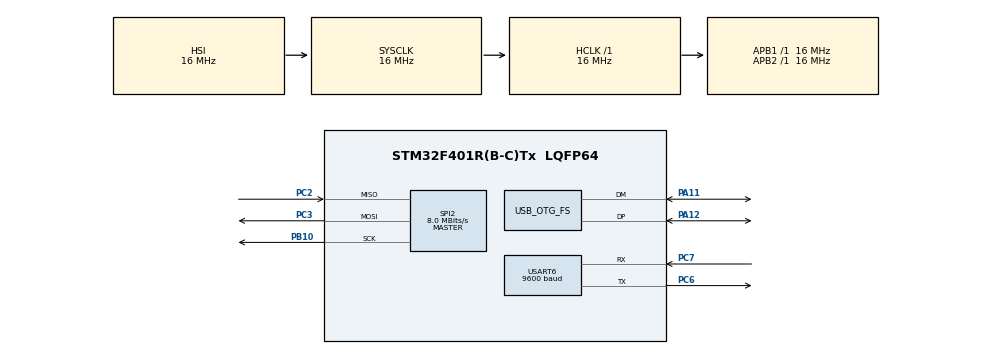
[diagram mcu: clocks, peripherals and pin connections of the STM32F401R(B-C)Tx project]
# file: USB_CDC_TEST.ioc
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Mcu.Family=STM32F4
Mcu.Name=STM32F401R(B-C)Tx
Mcu.Package=LQFP64
NVIC.OTG_FS_IRQn=true\:0\:0\:false\:false\:true\:false\:true\:true
NVIC.PriorityGroup=NVIC_PRIORITYGROUP_4
PA11.Mode=Device_Only
PA11.Signal=USB_OTG_FS_DM
PA12.Mode=Device_Only
PA12.Signal=USB_OTG_FS_DP
PB10.Mode=Full_Duplex_Master
PB10.Signal=SPI2_SCK
PC2.Mode=Full_Duplex_Master
PC2.Signal=SPI2_MISO
PC3.Mode=Full_Duplex_Master
PC3.Signal=SPI2_MOSI
PC6.Mode=Asynchronous
PC6.Signal=USART6_TX
PC7.Mode=Asynchronous
PC7.Signal=USART6_RX
PH0\ -\ OSC_IN.Mode=HSE-External-Oscillator
PH0\ -\ OSC_IN.Signal=RCC_OSC_IN
PH1\ -\ OSC_OUT.Mode=HSE-External-Oscillator
PH1\ -\ OSC_OUT.Signal=RCC_OSC_OUT
ProjectManager.HeapSize=0x200
ProjectManager.StackSize=0x400
ProjectManager.TargetToolchain=STM32CubeIDE
RCC.48MHZClocksFreq_Value=48000000
RCC.AHBFreq_Value=16000000
RCC.APB1Freq_Value=16000000
RCC.APB2Freq_Value=16000000
RCC.CortexFreq_Value=16000000
RCC.HSE_VALUE=25000000
RCC.HSI_VALUE=16000000
RCC.LSE_VALUE=32768
RCC.PLLSourceVirtualString=RCC_PLLSOURCE_HSI
RCC.SYSCLKFreq_VALUE=16000000
RCC.VCOOutputFreq_Value=192000000
SPI2.CalculateBaudRate=8.0 MBits/s
SPI2.Direction=SPI_DIRECTION_2LINES
SPI2.Mode=SPI_MODE_MASTER
SPI2.VirtualType=VM_MASTER
USART6.BaudRate=9600
USART6.VirtualMode=VM_ASYNC
USB_DEVICE.CLASS_NAME_FS=CDC
USB_DEVICE.VirtualMode=Cdc
USB_DEVICE.VirtualModeFS=Cdc_FS
USB_OTG_FS.VirtualMode=Device_Only
VP_USB_DEVICE_VS_USB_DEVICE_CDC_FS.Mode=CDC_FS
board=custom

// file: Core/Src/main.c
/* USER CODE BEGIN Header */
/**
  ******************************************************************************
  * @file           : main.c
  * @brief          : Main program body
  ******************************************************************************
  * @attention
  *
  * Copyright (c) 2022 STMicroelectronics.
  * All rights reserved.
  *
  * This software is licensed under terms that can be found in the LICENSE file
  * in the root directory of this software component.
  * If no LICENSE file comes with this software, it is provided AS-IS.
  *
  ******************************************************************************
  */
/* USER CODE END Header */
#include "main.h"
#include "usb_device.h"

SPI_HandleTypeDef hspi2;

UART_HandleTypeDef huart6;

void SystemClock_Config(void);
static void MX_GPIO_Init(void);
static void MX_SPI2_Init(void);
static void MX_USART6_UART_Init(void);
/* USER CODE BEGIN PFP */
#define latch()   HAL_GPIO_WritePin(LATCH_GPIO_Port, LATCH_Pin, GPIO_PIN_SET);\
  	HAL_Delay(1);\
  	HAL_GPIO_WritePin(LATCH_GPIO_Port, LATCH_Pin, GPIO_PIN_RESET)

#define inputSize (160)
#define RF_SRE_GPIO_Port GPIO_PIN_13
#define RF_SRE_Pin GPIO_PIN_13
#define RF_SRL_GPIO_Port GPIO_PIN_13
#define RF_SRL_Pin GPIO_PIN_13
uint8_t regD= 0b00000000; //состояние сдвиговика
void RF_ShiftRegs(){
			HAL_GPIO_WritePin(RF_SRE_GPIO_Port, RF_SRE_Pin, 1); //shiftreg 2 HiZ
			uint8_t buf;
			HAL_GPIO_WritePin(RF_SRL_GPIO_Port, RF_SRL_Pin, 0);  //отключаем защёлку

			HAL_SPI_TransmitReceive(&hspi2, &regD, &buf, 1, 5000);  //отправляем данные для сдвигового регистра со светодиодами

			HAL_GPIO_WritePin(RF_SRL_GPIO_Port, RF_SRL_Pin, 1);  //включаем защёлку
			HAL_GPIO_WritePin(RF_SRE_GPIO_Port, RF_SRE_Pin, 0);  //shitfreg вывести из HiZ
}

/* USER CODE END PFP */

int main(void)
{

  /* MCU Configuration--------------------------------------------------------*/

  /* Reset of all peripherals, Initializes the Flash interface and the Systick. */
  HAL_Init();

  /* Configure the system clock */
  SystemClock_Config();

  /* Initialize all configured peripherals */
  MX_GPIO_Init();
  MX_USB_DEVICE_Init();
  MX_SPI2_Init();
  MX_USART6_UART_Init();

  /* Infinite loop */
  /* USER CODE BEGIN WHILE */
  regD = 0b00010000;
  RF_ShiftRegs();
  regD = 0b00011000;
  RF_ShiftRegs();
  //regD = 0b00010000;
  //RF_ShiftRegs();

	  while (1)
	      {
    /* USER CODE END WHILE */

    /* USER CODE BEGIN 3 */
	      	uint8_t str[256];
	      	uint8_t p=9;
	      	uint8_t t= 102;
	      	HAL_UART_Receive(&huart6, str, 256, 1000);
	      	//snprintf(str, sizeof(str), "pressure=%03u Pa, temp=%u degr ", p, t);
	        HAL_Delay(1000);
	        CDC_Transmit_FS(str, strlen(str));
	        //printf("Hello1!1");
	      }
  /* USER CODE END 3 */
}

void SystemClock_Config(void)
{
  RCC_OscInitTypeDef RCC_OscInitStruct = {0};
  RCC_ClkInitTypeDef RCC_ClkInitStruct = {0};

  /** Configure the main internal regulator output voltage
  */
  __HAL_RCC_PWR_CLK_ENABLE();
  __HAL_PWR_VOLTAGESCALING_CONFIG(PWR_REGULATOR_VOLTAGE_SCALE2);

  /** Initializes the RCC Oscillators according to the specified parameters
  * in the RCC_OscInitTypeDef structure.
  */
  RCC_OscInitStruct.OscillatorType = RCC_OSCILLATORTYPE_HSI;
  RCC_OscInitStruct.HSIState = RCC_HSI_ON;
  RCC_OscInitStruct.HSICalibrationValue = RCC_HSICALIBRATION_DEFAULT;
  RCC_OscInitStruct.PLL.PLLState = RCC_PLL_ON;
  RCC_OscInitStruct.PLL.PLLSource = RCC_PLLSOURCE_HSI;
  RCC_OscInitStruct.PLL.PLLM = 16;
  RCC_OscInitStruct.PLL.PLLN = 192;
  RCC_OscInitStruct.PLL.PLLP = RCC_PLLP_DIV2;
  RCC_OscInitStruct.PLL.PLLQ = 4;
  if (HAL_RCC_OscConfig(&RCC_OscInitStruct) != HAL_OK)
  {
    Error_Handler();
  }

  /** Initializes the CPU, AHB and APB buses clocks
  */
  RCC_ClkInitStruct.ClockType = RCC_CLOCKTYPE_HCLK|RCC_CLOCKTYPE_SYSCLK
                              |RCC_CLOCKTYPE_PCLK1|RCC_CLOCKTYPE_PCLK2;
  RCC_ClkInitStruct.SYSCLKSource = RCC_SYSCLKSOURCE_HSI;
  RCC_ClkInitStruct.AHBCLKDivider = RCC_SYSCLK_DIV1;
  RCC_ClkInitStruct.APB1CLKDivider = RCC_HCLK_DIV1;
  RCC_ClkInitStruct.APB2CLKDivider = RCC_HCLK_DIV1;

  if (HAL_RCC_ClockConfig(&RCC_ClkInitStruct, FLASH_LATENCY_0) != HAL_OK)
  {
    Error_Handler();
  }
}

static void MX_SPI2_Init(void)
{

  /* SPI2 parameter configuration*/
  hspi2.Instance = SPI2;
  hspi2.Init.Mode = SPI_MODE_MASTER;
  hspi2.Init.Direction = SPI_DIRECTION_2LINES;
  hspi2.Init.DataSize = SPI_DATASIZE_8BIT;
  hspi2.Init.CLKPolarity = SPI_POLARITY_LOW;
  hspi2.Init.CLKPhase = SPI_PHASE_1EDGE;
  hspi2.Init.NSS = SPI_NSS_SOFT;
  hspi2.Init.BaudRatePrescaler = SPI_BAUDRATEPRESCALER_2;
  hspi2.Init.FirstBit = SPI_FIRSTBIT_MSB;
  hspi2.Init.TIMode = SPI_TIMODE_DISABLE;
  hspi2.Init.CRCCalculation = SPI_CRCCALCULATION_DISABLE;
  hspi2.Init.CRCPolynomial = 10;
  if (HAL_SPI_Init(&hspi2) != HAL_OK)
  {
    Error_Handler();
  }

}

static void MX_USART6_UART_Init(void)
{

  huart6.Instance = USART6;
  huart6.Init.BaudRate = 9600;
  huart6.Init.WordLength = UART_WORDLENGTH_8B;
  huart6.Init.StopBits = UART_STOPBITS_1;
  huart6.Init.Parity = UART_PARITY_NONE;
  huart6.Init.Mode = UART_MODE_TX_RX;
  huart6.Init.HwFlowCtl = UART_HWCONTROL_NONE;
  huart6.Init.OverSampling = UART_OVERSAMPLING_16;
  if (HAL_UART_Init(&huart6) != HAL_OK)
  {
    Error_Handler();
  }

}

static void MX_GPIO_Init(void)
{

  /* GPIO Ports Clock Enable */
  __HAL_RCC_GPIOH_CLK_ENABLE();
  __HAL_RCC_GPIOC_CLK_ENABLE();
  __HAL_RCC_GPIOB_CLK_ENABLE();
  __HAL_RCC_GPIOA_CLK_ENABLE();

}

void Error_Handler(void)
{
  __disable_irq();
  while (1)
  {
  }
}
